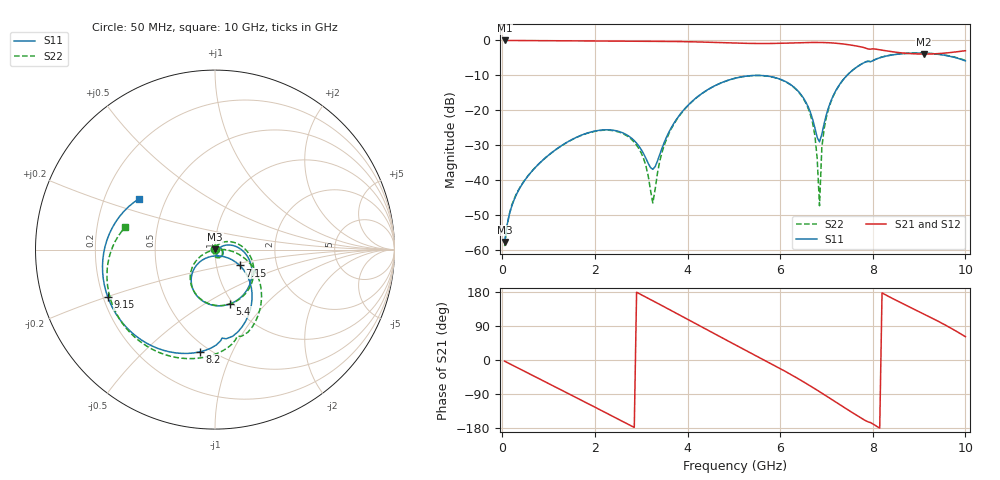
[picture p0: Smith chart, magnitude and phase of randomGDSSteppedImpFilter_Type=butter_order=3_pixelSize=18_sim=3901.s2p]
! freq	dB(S11)	phase(S11)	dB(S12)	phase(S12)
!  dB(S21)	phase(S21)	dB(S22)	phase(S22)
!S-par simulation data
#  GHz  S  DB  R 50
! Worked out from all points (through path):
!   200 points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, 50 MHz to 10 GHz, reference 50 ohm
!   highest |S21| = -0.01 dB at 50 MHz (marker M1); lowest = -3.9 dB at 9.1 GHz (marker M2)
!   group delay of S21, straight-line fit = 185 ps
!   lowest |S11| = -57.7 dB at 50 MHz (marker M3), VSWR 1.00, Z = 50.1 + j0.105 ohm
!   |S11| at or under -10 dB: start of sweep to 7.445 GHz
!   |S22| runs from -59.0 to -3.6 dB; largest |S21 - S12| = 0
!   S11 on the Smith chart (normalised r, x): 50 MHz: 1.00, +0.00; 5.4 GHz: 0.97, -0.65; 7.15 GHz: 1.30, -0.23; 8.2 GHz: 0.44, -0.76; 9.15 GHz: 0.22, -0.20; 10 GHz: 0.35, +0.27
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0.05  -57.74 54.0  -0.01 -3.2  -0.01 -3.2  -58.98 55.3
0.2  -47.69 67.5  -0.03 -12.5  -0.03 -12.5  -47.43 67.4
0.5  -39.81 58.4  -0.05 -31.1  -0.05 -31.1  -39.76 55.5
1.75  -26.94 -12.2  -0.14 -108.8  -0.14 -108.8  -27.00 -21.5
2.8  -28.12 -68.0  -0.22 -174.9  -0.22 -174.9  -28.49 -91.1
3.25  -36.94 -25.0  -0.25 156.4  -0.25 156.4  -46.60 157.9
3.4  -32.68 16.5  -0.26 146.7  -0.26 146.7  -34.63 71.3
4.2  -16.31 -1.9  -0.42 94.3  -0.42 94.3  -16.35 6.5
5.05  -10.76 -53.1  -0.76 38.9  -0.76 38.9  -10.77 -49.5
5.4  -10.07 -74.5  -0.87 16.4  -0.87 16.4  -10.08 -71.9
6.25  -12.89 -125.6  -0.73 -39.6  -0.73 -39.6  -12.97 -127.4
6.7  -22.52 -138.2  -0.58 -72.1  -0.58 -72.1  -23.59 -158.7
6.8  -27.84 -113.5  -0.57 -79.7  -0.57 -79.7  -33.90 -163.5
6.85  -29.07 -81.2  -0.58 -83.5  -0.58 -83.5  -47.37 -9.8
6.9  -26.90 -51.9  -0.59 -87.4  -0.59 -87.4  -30.74 2.6
6.95  -23.83 -37.9  -0.61 -91.3  -0.61 -91.3  -25.26 -0.1
7.15  -15.73 -32.7  -0.75 -107.0  -0.75 -107.0  -15.88 -14.7
8.2  -4.78 -98.6  -2.79 177.0  -2.79 177.0  -4.75 -88.9
8.35  -4.32 -107.9  -3.10 167.2  -3.10 167.2  -4.29 -98.2
9.1  -3.67 -153.1  -3.91 121.6  -3.91 121.6  -3.62 -141.3
9.15  -3.70 -156.1  -3.91 118.5  -3.91 118.5  -3.64 -144.2
10  -5.88 145.9  -2.94 61.5  -2.94 61.5  -5.76 165.9
